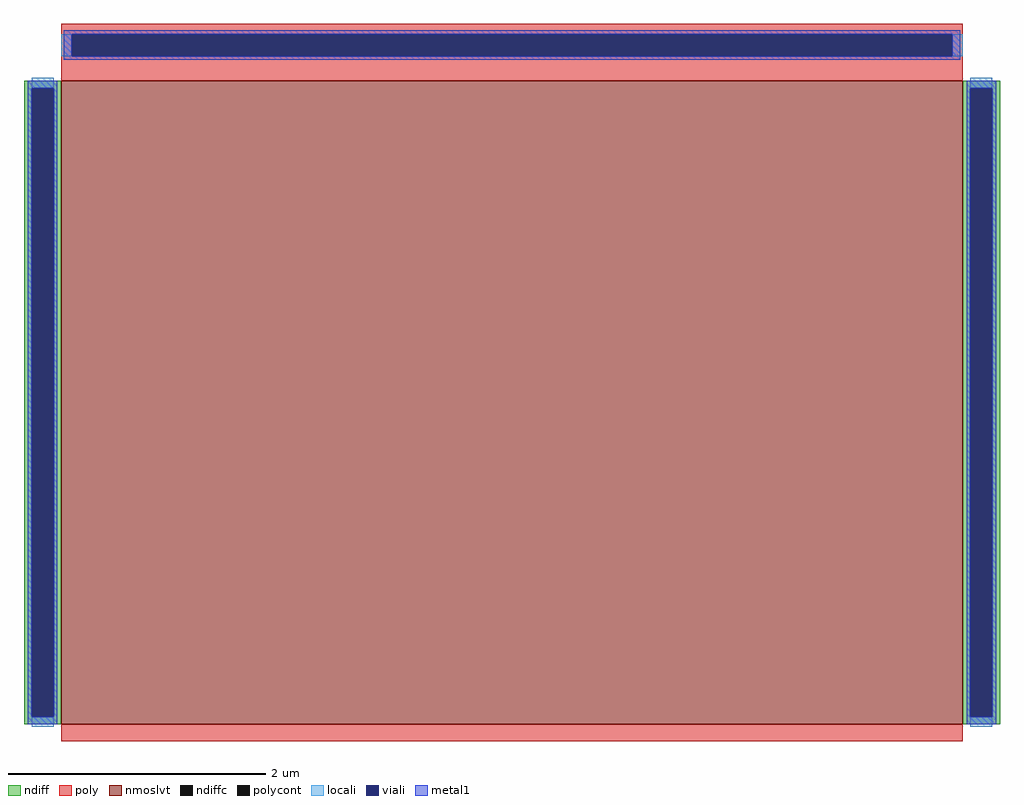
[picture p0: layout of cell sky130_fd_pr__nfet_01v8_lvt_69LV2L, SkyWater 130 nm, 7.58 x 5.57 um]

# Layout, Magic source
magic
tech sky130A
magscale 1 2
<< nmoslvt >>
rect -700 -531 700 469
<< ndiff >>
rect -758 457 -700 469
rect -758 -519 -746 457
rect -712 -519 -700 457
rect -758 -531 -700 -519
rect 700 457 758 469
rect 700 -519 712 457
rect 746 -519 758 457
rect 700 -531 758 -519
<< ndiffc >>
rect -746 -519 -712 457
rect 712 -519 746 457
<< poly >>
rect -700 541 700 557
rect -700 507 -684 541
rect 684 507 700 541
rect -700 469 700 507
rect -700 -557 700 -531
<< polycont >>
rect -684 507 684 541
<< locali >>
rect -700 507 -684 541
rect 684 507 700 541
rect -746 457 -712 473
rect -746 -535 -712 -519
rect 712 457 746 473
rect 712 -535 746 -519
<< viali >>
rect -684 507 684 541
rect -746 -519 -712 457
rect 712 -519 746 457
<< metal1 >>
rect -696 541 696 547
rect -696 507 -684 541
rect 684 507 696 541
rect -696 501 696 507
rect -752 457 -706 469
rect -752 -519 -746 457
rect -712 -519 -706 457
rect -752 -531 -706 -519
rect 706 457 752 469
rect 706 -519 712 457
rect 746 -519 752 457
rect 706 -531 752 -519
<< properties >>
string gencell sky130_fd_pr__nfet_01v8_lvt
string library sky130
string parameters w 5.0 l 7.0 m 1 nf 1 diffcov 100 polycov 100 guard 0 glc 1 grc 1 gtc 1 gbc 1 tbcov 100 rlcov 100 topc 1 botc 0 poverlap 0 doverlap 1 lmin 0.15 wmin 0.42 compatible {sky130_fd_pr__nfet_01v8 sky130_fd_pr__nfet_01v8_lvt  sky130_fd_bs_flash__special_sonosfet_star  sky130_fd_pr__nfet_g5v0d10v5 sky130_fd_pr__nfet_05v0_nvt  sky130_fd_pr__nfet_03v3_nvt} full_metal 0 viasrc 100 viadrn 100 viagate 100 viagb 0 viagr 0 viagl 0 viagt 0
<< end >>
